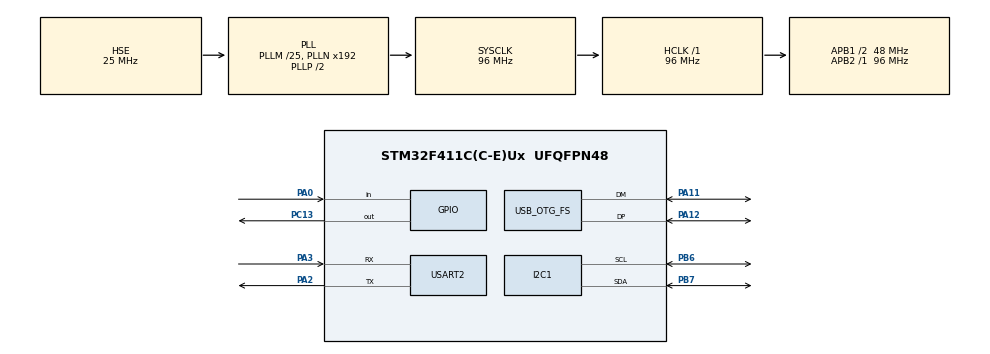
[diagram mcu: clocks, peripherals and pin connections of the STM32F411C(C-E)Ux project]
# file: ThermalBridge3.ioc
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I2C1.DutyCycle=I2C_DUTYCYCLE_2
I2C1.I2C_Mode=I2C_Fast
Mcu.Family=STM32F4
Mcu.Name=STM32F411C(C-E)Ux
Mcu.Package=UFQFPN48
NVIC.OTG_FS_IRQn=true\:0\:0\:false\:false\:true\:false\:true\:true
NVIC.PriorityGroup=NVIC_PRIORITYGROUP_4
PA0-WKUP.GPIO_PuPd=GPIO_PULLUP
PA0-WKUP.Signal=GPIO_Input
PA11.Mode=Device_Only
PA11.Signal=USB_OTG_FS_DM
PA12.Mode=Device_Only
PA12.Signal=USB_OTG_FS_DP
PA2.Mode=Asynchronous
PA2.Signal=USART2_TX
PA3.Mode=Asynchronous
PA3.Signal=USART2_RX
PB6.Mode=I2C
PB6.Signal=I2C1_SCL
PB7.Mode=I2C
PB7.Signal=I2C1_SDA
PC13-ANTI_TAMP.Signal=GPIO_Output
PH0\ -\ OSC_IN.Mode=HSE-External-Oscillator
PH0\ -\ OSC_IN.Signal=RCC_OSC_IN
PH1\ -\ OSC_OUT.Mode=HSE-External-Oscillator
PH1\ -\ OSC_OUT.Signal=RCC_OSC_OUT
ProjectManager.HeapSize=0x200
ProjectManager.StackSize=0x400
ProjectManager.TargetToolchain=STM32CubeIDE
RCC.48MHZClocksFreq_Value=48000000
RCC.AHBFreq_Value=96000000
RCC.APB1CLKDivider=RCC_HCLK_DIV2
RCC.APB1Freq_Value=48000000
RCC.APB1TimFreq_Value=96000000
RCC.APB2Freq_Value=96000000
RCC.APB2TimFreq_Value=96000000
RCC.CortexFreq_Value=96000000
RCC.HCLKFreq_Value=96000000
RCC.HSE_VALUE=25000000
RCC.HSI_VALUE=16000000
RCC.LSE_VALUE=32768
RCC.PLLM=25
RCC.SYSCLKFreq_VALUE=96000000
RCC.SYSCLKSource=RCC_SYSCLKSOURCE_PLLCLK
RCC.VCOOutputFreq_Value=192000000
USART2.VirtualMode=VM_ASYNC
USB_DEVICE.CLASS_NAME_FS=CDC
USB_DEVICE.VirtualMode=Cdc
USB_DEVICE.VirtualModeFS=Cdc_FS
USB_OTG_FS.VirtualMode=Device_Only
VP_USB_DEVICE_VS_USB_DEVICE_CDC_FS.Mode=CDC_FS
board=custom

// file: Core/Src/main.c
/* USER CODE BEGIN Header */
/**
  ******************************************************************************
  * @file           : main.c
  * @brief          : Main program body
  ******************************************************************************
  * @attention
  *
  * Copyright (c) 2023 STMicroelectronics.
  * All rights reserved.
  *
  * This software is licensed under terms that can be found in the LICENSE file
  * in the root directory of this software component.
  * If no LICENSE file comes with this software, it is provided AS-IS.
  *
  ******************************************************************************
  */
/* USER CODE END Header */
#include "main.h"
#include "i2c.h"
#include "usart.h"
#include "usb_device.h"
#include "gpio.h"

/* USER CODE BEGIN Includes */
#include "mlx90640_adapter.h"
#include "usb_data_transfer.h"
#include "common.h"
/* USER CODE END Includes */

/* USER CODE BEGIN PV */
static float g_thermal_data[MLX90640_PIXEL_NUM];
/* USER CODE END PV */

void SystemClock_Config(void);

/* USER CODE BEGIN 0 */
#ifdef __GNUC__
#define PUTCHAR_PROTOTYPE int __io_putchar(int ch)
#else
#define PUTCHAR_PROTOTYPE int fputc(int ch, FILE *f)
#endif

PUTCHAR_PROTOTYPE
{
  HAL_UART_Transmit(&huart2, (uint8_t *)&ch, 1, HAL_MAX_DELAY);
  return ch;
}
/* USER CODE END 0 */

int main(void)
{
  /* USER CODE BEGIN 1 */
  uint8_t fast_mode = 1;
  usb_control_cmd usb_cmd;
  /* USER CODE END 1 */

  /* MCU Configuration--------------------------------------------------------*/

  /* Reset of all peripherals, Initializes the Flash interface and the Systick. */
  HAL_Init();

  /* Configure the system clock */
  SystemClock_Config();

  /* Initialize all configured peripherals */
  MX_GPIO_Init();
  MX_I2C1_Init();
  MX_USART2_UART_Init();
  MX_USB_DEVICE_Init();
  /* USER CODE BEGIN 2 */
  mlx_param_init();
  usb_transfer_init();
  /* USER CODE END 2 */

  /* Infinite loop */
  /* USER CODE BEGIN WHILE */
  //praw("mlx init ok\r\n");
  HAL_GPIO_WritePin(GPIOC, GPIO_PIN_13, GPIO_PIN_SET);
  while (usb_get_cmd(&usb_cmd) == 0 || usb_cmd.type != USB_CMD_START) {
    pinfo("wait for start cmd\r\n");
    HAL_Delay(100);
  }

  while (1)
  {
    /* USER CODE END WHILE */

    /* USER CODE BEGIN 3 */
  int ret;

  ret = usb_get_cmd(&usb_cmd);
  if (ret > 0) {
    //perr("usb cmd: type(%d), fps(%d)\r\n", usb_cmd.type, usb_cmd.fps);
    if (usb_cmd.type == USB_CMD_FPS) {
      (void)mlx_set_refresh_rate(usb_cmd.fps);
    }
  }

  mlx_data_read(g_thermal_data);

#if 0
  praw("=================== %ld ======================\r\n", cnt++);
  for (int i = 12; i < 13; i++) {
    for (int j = 0; j < MLX90640_COLUMN_NUM; j++) {
    praw("%02.2f ", g_thermal_data[i * MLX90640_COLUMN_NUM + j]);
    }
      praw("\r\n");
  }
  praw("=========================================\r\n");
#endif

  ret = usb_data_store_f(g_thermal_data, count_of(g_thermal_data));
  if (ret != 0) {
    return ret;
  }
  usb_data_send();

  if (HAL_GPIO_ReadPin(GPIOA, GPIO_PIN_0) == GPIO_PIN_RESET) {
    while (HAL_GPIO_ReadPin(GPIOA, GPIO_PIN_0) != GPIO_PIN_SET) {
      HAL_Delay(1);
    }
    fast_mode = (fast_mode == 0 ? 1 : 0);
  }

  if (fast_mode == 1) {
    HAL_GPIO_WritePin(GPIOC, GPIO_PIN_13, GPIO_PIN_SET);
  } else {
    HAL_GPIO_WritePin(GPIOC, GPIO_PIN_13, GPIO_PIN_SET);
    HAL_Delay(1000);
  }
  }
  /* USER CODE END 3 */
}

void SystemClock_Config(void)
{
  RCC_OscInitTypeDef RCC_OscInitStruct = {0};
  RCC_ClkInitTypeDef RCC_ClkInitStruct = {0};

  /** Configure the main internal regulator output voltage
  */
  __HAL_RCC_PWR_CLK_ENABLE();
  __HAL_PWR_VOLTAGESCALING_CONFIG(PWR_REGULATOR_VOLTAGE_SCALE1);

  /** Initializes the RCC Oscillators according to the specified parameters
  * in the RCC_OscInitTypeDef structure.
  */
  RCC_OscInitStruct.OscillatorType = RCC_OSCILLATORTYPE_HSE;
  RCC_OscInitStruct.HSEState = RCC_HSE_ON;
  RCC_OscInitStruct.PLL.PLLState = RCC_PLL_ON;
  RCC_OscInitStruct.PLL.PLLSource = RCC_PLLSOURCE_HSE;
  RCC_OscInitStruct.PLL.PLLM = 25;
  RCC_OscInitStruct.PLL.PLLN = 192;
  RCC_OscInitStruct.PLL.PLLP = RCC_PLLP_DIV2;
  RCC_OscInitStruct.PLL.PLLQ = 4;
  if (HAL_RCC_OscConfig(&RCC_OscInitStruct) != HAL_OK)
  {
    Error_Handler();
  }

  /** Initializes the CPU, AHB and APB buses clocks
  */
  RCC_ClkInitStruct.ClockType = RCC_CLOCKTYPE_HCLK|RCC_CLOCKTYPE_SYSCLK
                              |RCC_CLOCKTYPE_PCLK1|RCC_CLOCKTYPE_PCLK2;
  RCC_ClkInitStruct.SYSCLKSource = RCC_SYSCLKSOURCE_PLLCLK;
  RCC_ClkInitStruct.AHBCLKDivider = RCC_SYSCLK_DIV1;
  RCC_ClkInitStruct.APB1CLKDivider = RCC_HCLK_DIV2;
  RCC_ClkInitStruct.APB2CLKDivider = RCC_HCLK_DIV1;

  if (HAL_RCC_ClockConfig(&RCC_ClkInitStruct, FLASH_LATENCY_3) != HAL_OK)
  {
    Error_Handler();
  }
}

void Error_Handler(void)
{
  __disable_irq();
  while (1)
  {
  }
}
